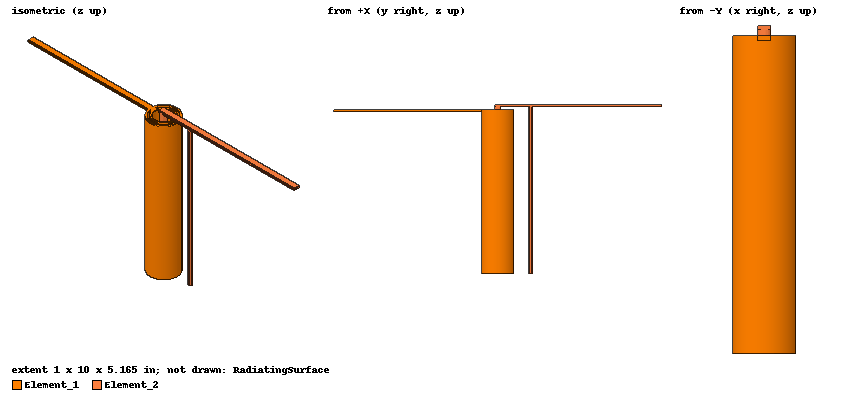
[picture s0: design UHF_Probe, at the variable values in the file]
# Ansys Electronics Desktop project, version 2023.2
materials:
  vacuum: permittivity=1
  copper: permeability=0.999991 conductivity=58000000

design UHF_Probe (HFSS, HFSS Terminal Network, model units in)
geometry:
  Boom = cylinder(axis=Z, base_centre=(0in, 0in, 0in), radius=0.5in, height=5in)
  Cylinder1 = cylinder(axis=Z, base_centre=(0in, 0in, 0in), radius=0.435in, height=5in)
  Boom.subtract(Cylinder1)
  Boom1 = cylinder(axis=Z, base_centre=(0in, 0in, 0in), radius=0.37in, height=5in)
  Cylinder2 = cylinder(axis=Z, base_centre=(0in, 0in, 0in), radius=0.31in, height=5in)
  Boom1.subtract(Cylinder2)
  Element_1 [copper] = box(corner=(-0.1in, -0.31in, 5in), size=(0.2in, -4.69in, -0.065in))
  Element_1.unite(Boom, Boom1)
  Center_Pin = cylinder(axis=Z, base_centre=(0in, 0in, 0in), radius=0.1in, height=5.1in)
  Element_2 [copper] = box(corner=(-0.1in, -0.1in, 5.1in), size=(0.2in, 5.1in, 0.065in))
  Ground_Pin = cylinder(axis=Z, base_centre=(0in, 1in, 0in), radius=0.0625in, height=5.1in)
  Element_2.unite(Center_Pin, Ground_Pin)
  P1 [copper] = circle(normal=Z, centre=(0in, 0in, 0in), radius=0.31in)
  RadiatingSurface [vacuum] = region(absolute_offset: +X=7.1581961in, -X=7.1581961in, +Y=7.1581961in, -Y=7.1581961in, +Z=7.1581961in, -Z=0in)
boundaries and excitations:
  Open1: Radiation Faces=RadiatingSurface.face(+z, -y, -x, +y, +x)
  Open_InfiniteGnd1: Perfect E Faces=RadiatingSurface.face(-z) InfGroundPlane
  T1: Terminal port=P1 Faces=Element_2.face(at (0, 0, 0)) TerminalResistance=50ohm
  P1: Wave Port Faces=P1.face WavePortType=Terminal NumModes=1
  reference conductors: Element_1
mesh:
  Length1: LengthBased Objects=RadiatingSurface MaxLength=3.5in
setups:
  Setup1: HfssDriven Frequency=0.55GHz MaxDeltaS=0.02 MaximumPasses=10 MinimumPasses=10 MinimumConvergedPasses=1 PercentRefinement=30 BasisOrder=1 PortAccuracy=2 DrivenSolverType="Iterative Solver" IterativeResidual=1e-06 DDMSolverResidual=0.0001
    sweep Sweep: 0.35GHz to 0.75GHz, 401 points; Type=Fast SaveFields
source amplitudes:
  P1:1: 1V 0deg
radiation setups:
  3D: Infinite Sphere Theta=0deg..180deg step 2deg Phi=-180deg..180deg step 2deg
  Elevation: Infinite Sphere Theta=-180deg..180deg step 1deg Phi=0deg..90deg step 90deg
  Azimuth: Infinite Sphere Theta=90deg..90deg step 0deg Phi=-180deg..180deg step 1deg
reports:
  Terminal S Parameter Plot 1: dB(St(T1,T1)) vs Freq on Setup1 : Sweep; markers m1 at 548MHz
  Gain Plot 1: dB(GainTotal) vs Theta on Setup1 : LastAdaptive, Elevation [Phi=0deg Freq=0.55GHz]; markers m1 at 0deg, m2 at 58deg
  Gain Plot 2: dB(GainTotal) vs Theta on Setup1 : LastAdaptive, Elevation [Phi=90deg Freq=0.55GHz]
  rE Plot 1: dB(rETotal) vs Phi, Theta on Setup1 : LastAdaptive, 3D [Freq=0.55GHz]
  Gain Plot 3: dB(GainTotal) vs Phi, Theta on Setup1 : LastAdaptive, 3D [Freq=0.55GHz]
